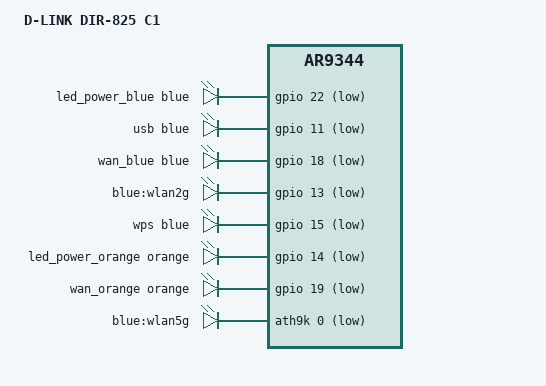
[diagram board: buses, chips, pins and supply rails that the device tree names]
// SPDX-License-Identifier: GPL-2.0-or-later OR MIT

#include <dt-bindings/leds/common.h>

#include "ar9344_dlink_dir-8x5.dtsi"

/ {
	model = "D-LINK DIR-825 C1";
	compatible = "dlink,dir-825-c1", "qca,ar9344";

	aliases {
		led-boot = &led_power_orange;
		led-failsafe = &led_power_orange;
		led-running = &led_power_blue;
		led-upgrade = &led_power_orange;
	};

	leds {
		compatible = "gpio-leds";

		pinctrl-names = "default";
		pinctrl-0 = <&enable_gpio_11>;

		led_power_blue: power_blue {
			function = LED_FUNCTION_POWER;
			color = <LED_COLOR_ID_BLUE>;
			gpios = <&gpio 22 GPIO_ACTIVE_LOW>;
		};

		usb {
			function = LED_FUNCTION_USB;
			color = <LED_COLOR_ID_BLUE>;
			gpios = <&gpio 11 GPIO_ACTIVE_LOW>;
			linux,default-trigger = "usbport";
			trigger-sources = <&hub_port>;
		};

		wan_blue {
			function = LED_FUNCTION_WAN;
			color = <LED_COLOR_ID_BLUE>;
			gpios = <&gpio 18 GPIO_ACTIVE_LOW>;
		};

		wlan2g {
			label = "blue:wlan2g";
			gpios = <&gpio 13 GPIO_ACTIVE_LOW>;
			linux,default-trigger = "phy0tpt";
		};

		wps {
			function = LED_FUNCTION_WPS;
			color = <LED_COLOR_ID_BLUE>;
			gpios = <&gpio 15 GPIO_ACTIVE_LOW>;
		};

		led_power_orange: power_orange {
			function = LED_FUNCTION_POWER;
			color = <LED_COLOR_ID_ORANGE>;
			gpios = <&gpio 14 GPIO_ACTIVE_LOW>;
		};

		wan_orange {
			function = LED_FUNCTION_WAN;
			color = <LED_COLOR_ID_ORANGE>;
			gpios = <&gpio 19 GPIO_ACTIVE_LOW>;
		};
	};

	leds-ath9k {
		compatible = "gpio-leds";

		wlan5g {
			label = "blue:wlan5g";
			gpios = <&ath9k 0 GPIO_ACTIVE_LOW>;
			linux,default-trigger = "phy1tpt";
		};
	};
};

&pinmux {
	enable_gpio_11: pinmux_enable_gpio_11 {
		pinctrl-single,bits = <0x8 0x0 0xff000000>;
	};
};
